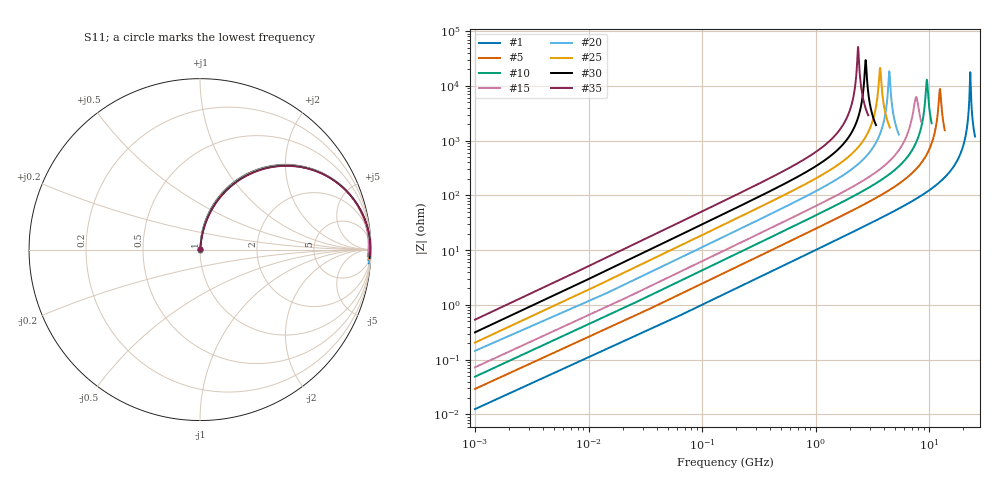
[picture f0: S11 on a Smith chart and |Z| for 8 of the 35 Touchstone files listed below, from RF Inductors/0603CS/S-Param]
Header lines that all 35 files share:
# MHZ S MA R 50
!Freq  MagS11  AngS11  MagS21  AngS21  MagS12  AngS12  MagS22  AngS22
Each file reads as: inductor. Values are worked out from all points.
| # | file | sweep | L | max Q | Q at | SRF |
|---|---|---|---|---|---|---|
| 1 | 06CS1N6.S2P | 1 MHz to 25.3 GHz | 1.6 nH | 116 | 8.266 GHz | 22.97 GHz |
| 2 | 06CS1N8.S2P | 1 MHz to 22.1 GHz | 1.8 nH | 80.5 | 7.551 GHz | 20.01 GHz |
| 3 | 06CS3N3.S2P | 1 MHz to 17.1 GHz | 3.3 nH | 125 | 4.094 GHz | 15.48 GHz |
| 4 | 06CS3N6.S2P | 1 MHz to 14.6 GHz | 3.6 nH | 94.9 | 3.933 GHz | 13.25 GHz |
| 5 | 06CS3N9.S2P | 1 MHz to 13.7 GHz | 3.9 nH | 89.5 | 3.759 GHz | 12.44 GHz |
| 6 | 06CS4N3.S2P | 1 MHz to 12.9 GHz | 4.3 nH | 101 | 3.475 GHz | 11.68 GHz |
| 7 | 06CS4N7.S2P | 1 MHz to 12.5 GHz | 4.7 nH | 73.6 | 3.554 GHz | 11.32 GHz |
| 8 | 06CS5N1.S2P | 1 MHz to 10.7 GHz | 5.1 nH | 69.3 | 2.909 GHz | 9.688 GHz |
| 9 | 06CS5N6.S2P | 1 MHz to 10.6 GHz | 5.6 nH | 112 | 4.494 GHz | - |
| 10 | 06CS6N8.S2P | 1 MHz to 10.5 GHz | 6.8 nH | 101 | 2.855 GHz | 9.531 GHz |
| 11 | 06CS7N5.S2P | 1 MHz to 9.6 GHz | 7.5 nH | 97.6 | 2.563 GHz | 8.643 GHz |
| 12 | 06CS8N2.S2P | 1 MHz to 8.1 GHz | 8 nH | 87 | 2.041 GHz | 7.333 GHz |
| 13 | 06CS8N7.S2P | 1 MHz to 7.2 GHz | 8.7 nH | 88.8 | 2.263 GHz | 6.481 GHz |
| 14 | 06CS9N5.S2P | 1 MHz to 9.3 GHz | 9.5 nH | 87.3 | 2.737 GHz | 8.373 GHz |
| 15 | 06CS10N.S2P | 1 MHz to 8.5 GHz | 10 nH | 86.8 | 1.887 GHz | 7.695 GHz |
| 16 | 06CS11N.S2P | 1 MHz to 7.8 GHz | 11 nH | 87.2 | 1.888 GHz | 7.085 GHz |
| 17 | 06CS12N.S2P | 1 MHz to 6.7 GHz | 12 nH | 86.6 | 1.989 GHz | 6.033 GHz |
| 18 | 06CS15N.S2P | 1 MHz to 6.5 GHz | 15 nH | 93.8 | 1.946 GHz | 5.869 GHz |
| 19 | 06CS16N.S2P | 1 MHz to 6.2 GHz | 16 nH | 92 | 1.856 GHz | 5.613 GHz |
| 20 | 06CS18N.S2P | 1 MHz to 5.4 GHz | 18 nH | 85 | 1.455 GHz | 4.443 GHz |
| 21 | 06CS22N.S2P | 1 MHz to 5.6 GHz | 21.9 nH | 90.5 | 1.509 GHz | 4.622 GHz |
| 22 | 06CS23N.S2P | 1 MHz to 5.5 GHz | 23 nH | 89.4 | 1.399 GHz | 4.512 GHz |
| 23 | 06CS24N.S2P | 1 MHz to 4.8 GHz | 24 nH | 86.4 | 1.246 GHz | 3.939 GHz |
| 24 | 06CS27N.S2P | 1 MHz to 5.3 GHz | 27 nH | 90.6 | 1.388 GHz | 4.374 GHz |
| 25 | 06CS30N.S2P | 1 MHz to 4.5 GHz | 30 nH | 86 | 1.145 GHz | 3.681 GHz |
| 26 | 06CS33N.S2P | 1 MHz to 3.7 GHz | 33 nH | 68.3 | 1.006 GHz | 3.071 GHz |
| 27 | 06CS36N.S2P | 1 MHz to 4.2 GHz | 35.7 nH | 84.2 | 1.058 GHz | 3.467 GHz |
| 28 | 06CS39N.S2P | 1 MHz to 3.8 GHz | 39 nH | 72.8 | 1.043 GHz | 3.136 GHz |
| 29 | 06CS43N.S2P | 1 MHz to 4 GHz | 43 nH | 75.4 | 1.008 GHz | 3.271 GHz |
| 30 | 06CS47N.S2P | 1 MHz to 3.4 GHz | 47 nH | 72.2 | 925.3 MHz | 2.749 GHz |
| 31 | 06CS51N.S2P | 1 MHz to 3.8 GHz | 51 nH | 71.8 | 985.9 MHz | 3.145 GHz |
| 32 | 06CS56N.S2P | 1 MHz to 3.2 GHz | 56 nH | 74.1 | 902.7 MHz | 2.634 GHz |
| 33 | 06CS68N.S2P | 1 MHz to 2.8 GHz | 67 nH | 67.5 | 789.7 MHz | 2.269 GHz |
| 34 | 06CS72N.S2P | 1 MHz to 3.1 GHz | 72 nH | 69.7 | 890 MHz | 2.552 GHz |
| 35 | 06CS82N.S2P | 1 MHz to 2.9 GHz | 81 nH | 73.1 | 825.2 MHz | 2.358 GHz |
